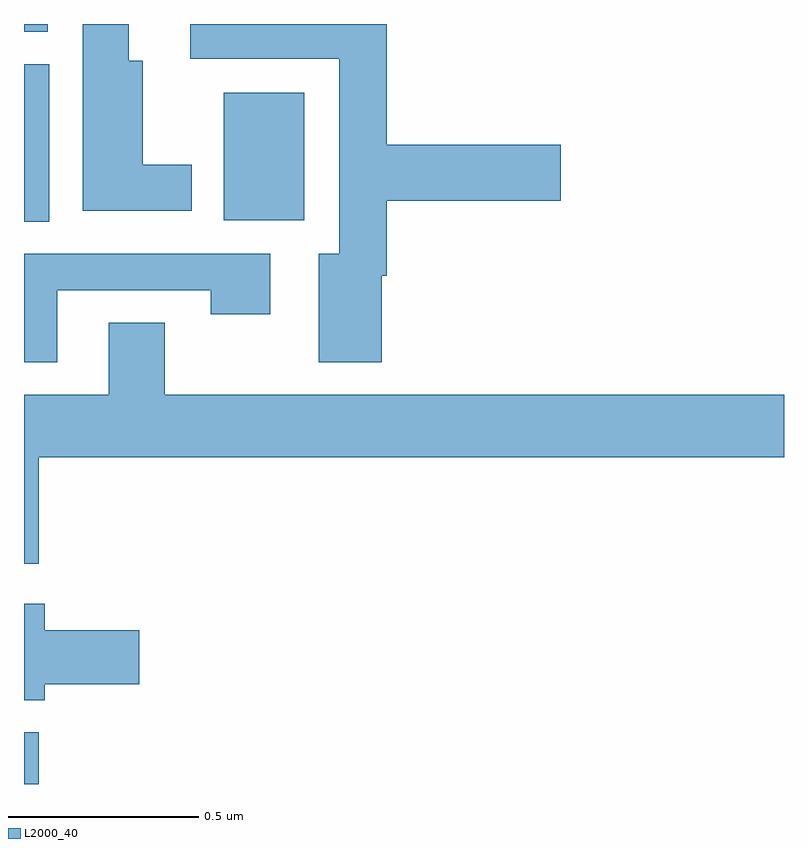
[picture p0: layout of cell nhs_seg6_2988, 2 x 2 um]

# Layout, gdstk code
import gdstk
lib = gdstk.Library(unit=1e-6, precision=1e-09)
def R(c, l, rs):  # rectangles x0, y0, x1, y1
    for r in rs: c.add(gdstk.rectangle(r[:2], r[2:], *l))
def P(c, l, *ps):  # polygons
    for p in ps: c.add(gdstk.Polygon(p, *l))
L2000_40 = (2000, 40)

nhs_seg6_2988 = lib.new_cell('nhs_seg6_2988')
R(nhs_seg6_2988, L2000_40, [(151,922.5,151.039,922.636), (151,923.98,151.066,924.394), (151.526,923.984,151.738,924.319), (151,924.479,151.063,924.5)])
P(nhs_seg6_2988, L2000_40, [(151.942,923.837),(151.955,923.837),(151.955,924.035),(152.413,924.035),(152.413,924.182),(151.955,924.182),(151.955,924.5),(151.437,924.5),(151.437,924.408),(151.829,924.408),(151.829,923.896),(151.775,923.896),(151.775,923.61),(151.942,923.61)],
  [(151.441,924.13),(151.312,924.13),(151.312,924.403),(151.276,924.403),(151.276,924.5),(151.154,924.5),(151.154,924.008),(151.441,924.008)],
  [(151.087,923.799),(151.492,923.799),(151.492,923.736),(151.648,923.736),(151.648,923.895),(151,923.895),(151,923.61),(151.087,923.61)],
  [(151.039,923.36),(153,923.36),(153,923.524),(151.371,923.524),(151.371,923.714),(151.223,923.714),(151.223,923.524),(151,923.524),(151,923.079),(151.039,923.079)],
  [(151.054,922.763),(151.303,922.763),(151.303,922.905),(151.054,922.905),(151.054,922.975),(151,922.975),(151,922.721),(151.054,922.721)])

lib.write_gds('nhs_seg6_2988.gds')
